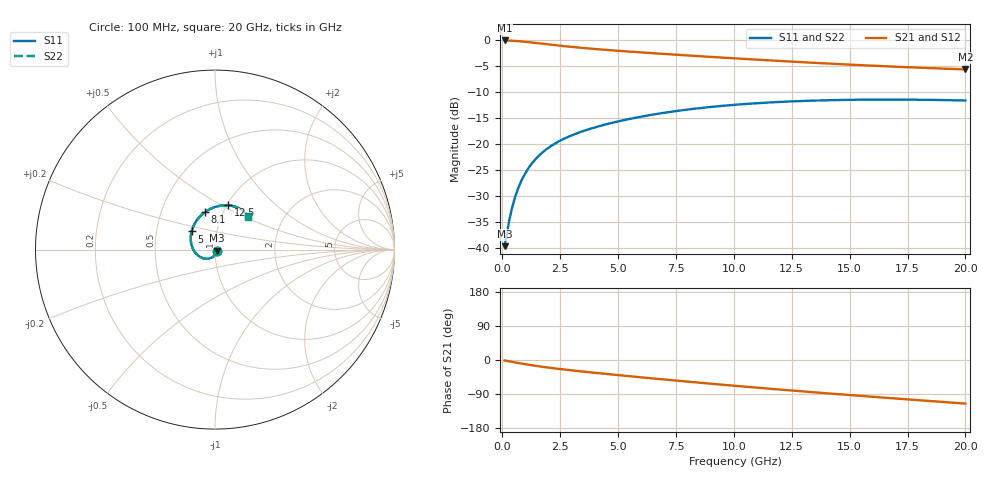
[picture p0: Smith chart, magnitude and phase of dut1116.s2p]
! Touchstone file exported from HFSS 2024.1.0
!  File:  C:/UserFiles/LocalFiles/RDL_TSV_Batchsim/temp_RDL_TSV_1116_1780104924.aedt
!  Generated:  09:42:49 AM May 30, 2026
!  Design:  RDL_TSV
!  Project:  temp_RDL_TSV_1116_1780104924
!  Setup:  Setup1
!  Solution:  Sweep
! Variables:
!  dtsv = 13.26um
!  hbump = 3um
!  htsv = 75.15um
!  ldown = 211.11um
!  lrdl = 134.79um
!  p = 40
!  p1 = 41.76um
!  rhole = 10um
!  subl = 1172.49um
!  t = 450um
!  tdown = 3.8um
!  trdl = 2.7um
!  viad = 10um
!  wdown = 13.43um
!  wrdl = 18.28um
!  xbump = 18um
# GHz S MA R 50.000000
! Terminal data exported
! Port[1] = TM1_1_T1
! Port[2] = TM1_4_T1
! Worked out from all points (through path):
!   200 points, 100 MHz to 20 GHz, reference 50 ohm
!   highest |S21| = -0.08 dB at 100 MHz (marker M1); lowest = -5.7 dB at 20 GHz (marker M2)
!   group delay of S21, straight-line fit = 15 ps
!   lowest |S11| = -39.7 dB at 100 MHz (marker M3), VSWR 1.02, Z = 50.9 - j0.591 ohm
!   |S11| at or under -10 dB: start of sweep to end of sweep
!   |S22| runs from -39.7 to -11.5 dB; largest |S21 - S12| = 9.8e-15
!   S11 on the Smith chart (normalised r, x): 100 MHz: 1.02, -0.01; 5 GHz: 0.76, +0.16; 8.1 GHz: 0.82, +0.36; 12.5 GHz: 1.01, +0.54; 20 GHz: 1.34, +0.53
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0.1  0.01041 -33.9  0.9906 -1.2  0.9906 -1.2  0.01041 -33.9
! Gamma 0 0 0 0
! Port Impedance 50 0 50 0
0.3  0.01836 -70.9  0.9875 -3.6  0.9875 -3.6  0.01837 -70.9
0.4  0.0232 -81.1  0.9851 -4.7  0.9851 -4.7  0.0232 -81.1
0.5  0.02819 -89.1  0.9822 -5.8  0.9822 -5.8  0.02819 -89.1
0.6  0.03321 -95.9  0.9788 -6.9  0.9788 -6.9  0.03321 -95.8
0.8  0.0431 -107.2  0.9708 -9.1  0.9708 -9.1  0.0431 -107.1
0.9  0.04791 -112.1  0.9663 -10.2  0.9663 -10.2  0.04791 -112.1
1.1  0.05716 -121.2  0.9564 -12.2  0.9564 -12.2  0.05716 -121.1
1.3  0.06587 -129.3  0.9459 -14.1  0.9459 -14.1  0.06587 -129.3
1.5  0.07403 -136.9  0.9349 -15.9  0.9349 -15.9  0.07402 -136.8
2  0.09217 -153.5  0.9075 -20.1  0.9075 -20.1  0.09214 -153.5
2.7  0.1132 -173.0  0.8723 -25.3  0.8723 -25.3  0.1132 -173.0
3.5  0.1333 168.7  0.8383 -30.6  0.8383 -30.6  0.1332 168.8
4.2  0.1488 155.3  0.8132 -35.0  0.8132 -35.0  0.1486 155.4
5  0.1649 142.2  0.788 -39.9  0.788 -39.9  0.1647 142.3
6.8  0.1966 118.8  0.7394 -50.4  0.7394 -50.4  0.1962 118.8
8.1  0.2158 105.4  0.7084 -57.7  0.7084 -57.7  0.2153 105.5
10.1  0.2389 88.9  0.6651 -68.4  0.6651 -68.4  0.2383 89.0
12.5  0.257 73.6  0.6198 -80.5  0.6198 -80.5  0.2563 73.6
13.4  0.2613 68.8  0.6046 -84.9  0.6046 -84.9  0.2605 68.8
16.7  0.2675 54.7  0.5573 -100.3  0.5573 -100.3  0.2667 54.7
20  0.2622 44.9  0.5217 -115.1  0.5217 -115.1  0.2613 44.9
